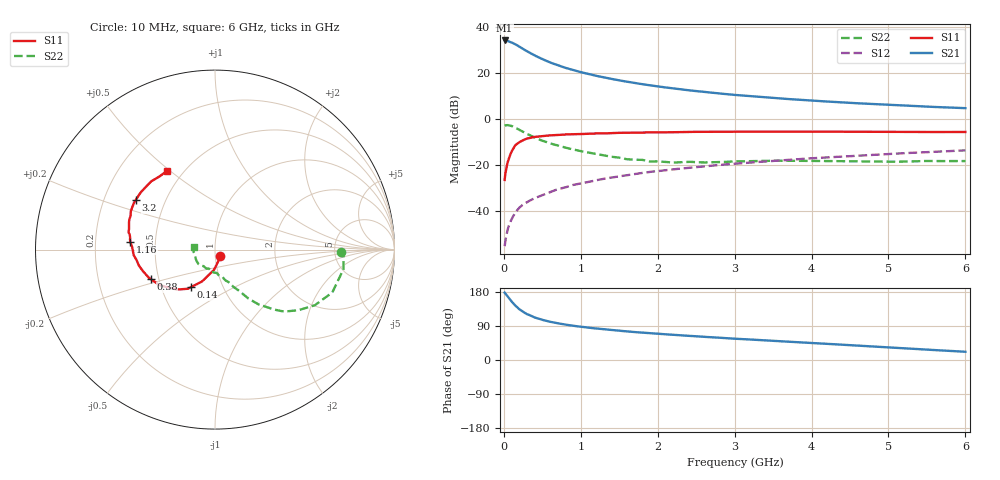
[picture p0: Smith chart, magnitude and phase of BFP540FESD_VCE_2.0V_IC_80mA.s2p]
! Infineon Technologies  Discrete & RF Semiconductors
! BFP540FESD
! VCE =  2.0 V,  IC =  80 mA
! Common Emitter S-Parameters:  Nov 2015
# GHz  S  MA  R  50
!  f  S11  S21  S12  S22
! GHz  MAG  ANG  MAG  ANG  MAG  ANG  MAG  ANG
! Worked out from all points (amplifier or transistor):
!   210 points, 10 MHz to 6 GHz, reference 50 ohm
!   highest |S21| = 34.0 dB at 10 MHz (marker M1)
!   |S21| within 3 dB of that: start of sweep to 216.7 MHz
!   unconditionally stable (mu >= 1): start of sweep to 77.83 MHz; 615.3 MHz to end of sweep
!   at 185 MHz: K = 0.76, MSG = 35.5 dB, |S12| = -39.3 dB
!   at 1.52 GHz: K = 1.14, MAG = 18.5 dB, |S12| = -24.9 dB
!   at 6 GHz: K = 1.26, MAG = 6.1 dB, |S12| = -13.8 dB
!   S11 on the Smith chart (normalised r, x): 10 MHz: 1.05, -0.08; 140 MHz: 0.70, -0.31; 380 MHz: 0.45, -0.18; 1.16 GHz: 0.36, +0.04; 3.2 GHz: 0.34, +0.26; 6 GHz: 0.41, +0.49
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0.01  0.0466 -54.2  49.84 177.7  0.0017 114.7  0.7007 -1.1
0.02  0.0641 -71.4  48.28 175.4  0.0022 105.3  0.7158 -0.8
0.05  0.1135 -92.9  48.58 167.3  0.0039 90.1  0.7242 -8.6
0.1  0.1918 -112.2  45.34 154.2  0.0065 84.3  0.6959 -20.1
0.14  0.2502 -122.9  42.02 145.6  0.0086 76.5  0.6475 -27.2
0.15  0.2658 -124.8  41.35 143.3  0.0091 75.1  0.6371 -29.1
0.2  0.3068 -133.5  36.72 134.2  0.0116 74.6  0.5728 -36.2
0.26  0.3454 -143.2  31.86 126.0  0.0139 71.9  0.507 -42.6
0.3  0.3689 -147.8  29.08 121.1  0.0153 71.0  0.4675 -45.5
0.38  0.3937 -155.4  24.56 114.3  0.018 70.4  0.4053 -50.1
0.5  0.4188 -163.3  19.55 105.8  0.0217 70.4  0.331 -55.6
0.6  0.4333 -168.2  16.58 100.9  0.0252 69.6  0.2899 -58.0
0.8  0.4541 -176.1  12.69 93.3  0.0322 70.6  0.2335 -63.5
1.02  0.4633 177.8  10.03 87.3  0.0397 69.9  0.1938 -67.8
1.16  0.4741 174.6  8.822 84.0  0.0444 69.7  0.176 -72.0
1.5  0.4921 168.6  6.768 77.2  0.056 68.0  0.1422 -82.6
2.02  0.5063 160.2  4.955 68.9  0.0731 65.0  0.1175 -102.4
3.1  0.5211 148.9  3.179 55.2  0.108 58.2  0.1183 -132.4
3.2  0.5211 148.0  3.083 54.1  0.1111 57.4  0.119 -134.0
4.1  0.5215 141.1  2.408 43.8  0.1407 51.7  0.1203 -148.5
5.1  0.5184 132.0  1.962 32.1  0.1744 43.4  0.1159 -164.8
6  0.5135 121.4  1.689 21.7  0.2045 35.4  0.1199 174.4
